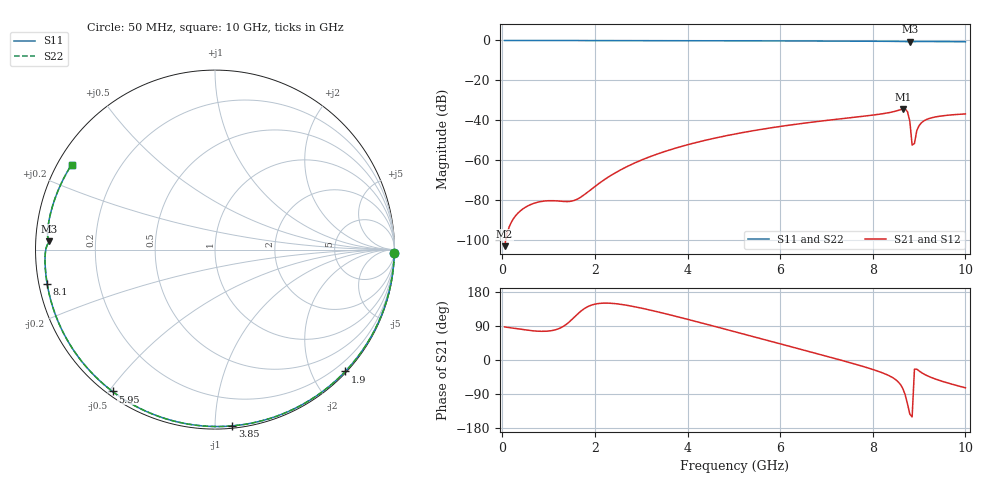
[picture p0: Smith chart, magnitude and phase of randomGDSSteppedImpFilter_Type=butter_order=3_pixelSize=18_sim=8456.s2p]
! freq	dB(S11)	phase(S11)	dB(S12)	phase(S12)
!  dB(S21)	phase(S21)	dB(S22)	phase(S22)
!S-par simulation data
#  GHz  S  DB  R 50
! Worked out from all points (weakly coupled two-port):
!   200 points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, 50 MHz to 10 GHz, reference 50 ohm
!   highest |S21| = -34.29 dB at 8.65 GHz (marker M1); lowest = -103.0 dB at 50 MHz (marker M2)
!   lowest |S11| = -0.7 dB at 8.8 GHz (marker M3), VSWR 26.60, Z = 1.88 + j1.24 ohm
!   |S11| at or under -10 dB: nowhere
!   |S22| runs from -0.7 to 0.0 dB; largest |S21 - S12| = 0
!   S11 on the Smith chart (normalised r, x): 50 MHz: open; 1.9 GHz: 0.02, -2.53; 3.85 GHz: 0.01, -1.10; 5.95 GHz: 0.02, -0.51; 8.1 GHz: 0.02, -0.10; 10 GHz: 0.04, +0.27
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0.05  -0.00 -1.1  -102.98 87.3  -102.98 87.3  -0.00 -1.1
1.55  -0.04 -35.3  -80.11 112.4  -80.11 112.4  -0.04 -35.3
1.75  -0.05 -39.8  -77.57 133.8  -77.57 133.8  -0.05 -39.8
1.9  -0.05 -43.1  -74.90 143.7  -74.90 143.7  -0.05 -43.1
2.55  -0.07 -57.2  -64.84 147.0  -64.84 147.0  -0.07 -57.2
3.4  -0.10 -75.2  -56.43 125.8  -56.43 125.8  -0.10 -75.2
3.85  -0.11 -84.4  -53.18 112.1  -53.18 112.1  -0.11 -84.4
5.05  -0.17 -108.3  -46.72 73.7  -46.72 73.7  -0.17 -108.3
5.95  -0.22 -125.8  -43.22 44.4  -43.22 44.4  -0.22 -125.8
6.7  -0.27 -140.4  -40.87 19.9  -40.87 19.9  -0.27 -140.4
8.1  -0.40 -168.4  -37.07 -29.0  -37.07 -29.0  -0.40 -168.4
8.35  -0.44 -173.7  -36.14 -41.3  -36.14 -41.3  -0.44 -173.7
8.65  -0.52 179.6  -34.29 -75.7  -34.29 -75.7  -0.52 179.6
8.75  -0.64 177.7  -35.70 -116.1  -35.70 -116.1  -0.64 177.7
8.8  -0.65 177.2  -40.49 -142.8  -40.49 -142.8  -0.66 177.2
8.85  -0.61 176.4  -52.36 -150.3  -52.36 -150.3  -0.61 176.4
8.9  -0.58 175.3  -51.56 -24.2  -51.56 -24.2  -0.58 175.3
8.95  -0.56 174.2  -45.17 -24.1  -45.17 -24.1  -0.56 174.2
9  -0.55 173.0  -42.63 -28.8  -42.63 -28.8  -0.55 173.0
9.1  -0.54 170.7  -40.31 -36.8  -40.31 -36.8  -0.55 170.7
9.4  -0.57 163.8  -38.09 -52.2  -38.09 -52.2  -0.57 163.8
10  -0.64 149.4  -36.78 -73.4  -36.78 -73.4  -0.64 149.4
